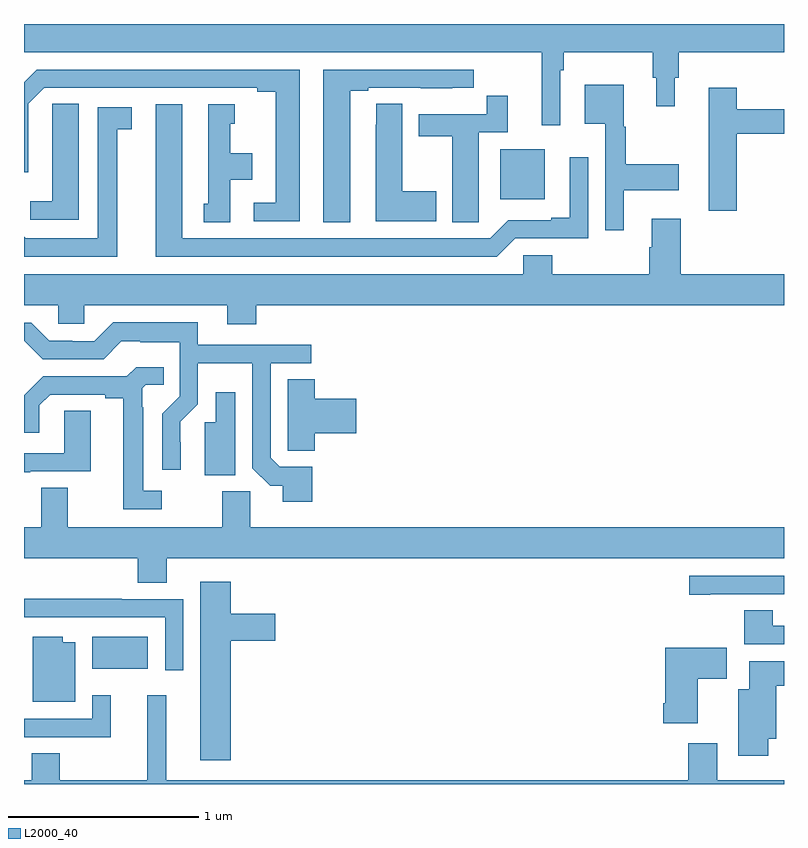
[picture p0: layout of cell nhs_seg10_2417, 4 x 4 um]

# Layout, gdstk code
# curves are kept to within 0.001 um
import gdstk
lib = gdstk.Library(unit=1e-6, precision=1e-09)
def R(c, l, rs):  # rectangles x0, y0, x1, y1
    for r in rs: c.add(gdstk.rectangle(r[:2], r[2:], *l))
def P(c, l, *ps):  # polygons
    for p in ps: c.add(gdstk.Polygon(p, *l))
L2000_40 = (2000, 40)

nhs_seg10_2417 = lib.new_cell('nhs_seg10_2417')
R(nhs_seg10_2417, L2000_40, [(241.358,1261.106,241.651,1261.276), (243.506,1263.578,243.742,1263.841)])
P(nhs_seg10_2417, L2000_40, [(243.822,1264.256),(243.842,1264.256),(243.842,1264.352),(244.309,1264.352),(244.309,1264.218),(244.328,1264.218),(244.328,1264.068),(244.426,1264.068),(244.426,1264.218),(244.445,1264.218),(244.445,1264.352),(245,1264.352),(245,1264.5),(241,1264.5),(241,1264.352),(243.725,1264.352),(243.725,1263.966),(243.822,1263.966)],
  [(242.452,1264.26),(241.067,1264.26),(241,1264.193),(241,1263.72),(241.023,1263.72),(241.023,1264.08),(241.107,1264.164),(242.228,1264.164),(242.228,1264.144),(242.324,1264.144),(242.324,1263.558),(242.208,1263.558),(242.208,1263.462),(242.452,1263.462)],
  [(242.716,1264.149),(242.812,1264.149),(242.812,1264.164),(243.088,1264.164),(243.088,1264.163),(243.254,1264.163),(243.254,1264.164),(243.367,1264.164),(243.367,1264.26),(242.576,1264.26),(242.576,1263.457),(242.716,1263.457)],
  [(244.156,1263.626),(244.447,1263.626),(244.447,1263.761),(244.168,1263.761),(244.168,1263.96),(244.156,1263.96),(244.156,1264.18),(243.95,1264.18),(243.95,1263.974),(244.059,1263.974),(244.059,1263.414),(244.156,1263.414)],
  [(244.751,1263.922),(245,1263.922),(245,1264.051),(244.751,1264.051),(244.751,1264.165),(244.604,1264.165),(244.604,1263.516),(244.751,1263.516)],
  [(243.393,1263.568),(243.394,1263.568),(243.394,1263.93),(243.545,1263.93),(243.545,1264.123),(243.436,1264.123),(243.436,1264.026),(243.077,1264.026),(243.077,1263.91),(243.254,1263.91),(243.254,1263.457),(243.393,1263.457)],
  [(241.288,1264.079),(241.149,1264.079),(241.149,1263.971),(241.148,1263.971),(241.148,1263.568),(241.032,1263.568),(241.032,1263.471),(241.288,1263.471)],
  [(243.169,1263.621),(242.992,1263.621),(242.992,1264.079),(242.853,1264.079),(242.853,1263.971),(242.852,1263.971),(242.852,1263.461),(243.169,1263.461)],
  [(242.086,1263.68),(242.2,1263.68),(242.2,1263.82),(242.086,1263.82),(242.086,1263.975),(242.11,1263.975),(242.11,1264.078),(241.97,1264.078),(241.97,1263.555),(241.946,1263.555),(241.946,1263.457),(242.086,1263.457)],
  [(243.585,1263.372),(243.969,1263.372),(243.969,1263.799),(243.872,1263.799),(243.872,1263.481),(243.776,1263.481),(243.776,1263.468),(243.549,1263.468),(243.453,1263.372),(241.834,1263.372),(241.834,1264.078),(241.694,1264.078),(241.694,1263.276),(243.489,1263.276)],
  [(241.492,1263.946),(241.567,1263.946),(241.567,1264.062),(241.388,1264.062),(241.388,1263.372),(241.008,1263.372),(241,1263.38),(241,1263.276),(241.492,1263.276)],
  [(242.222,1263.02),(245,1263.02),(245,1263.184),(244.457,1263.184),(244.457,1263.475),(244.304,1263.475),(244.304,1263.326),(244.292,1263.326),(244.292,1263.184),(243.779,1263.184),(243.779,1263.282),(243.627,1263.282),(243.627,1263.184),(241,1263.184),(241,1263.02),(241.179,1263.02),(241.179,1262.922),(241.317,1262.922),(241.317,1263.02),(242.069,1263.02),(242.069,1262.921),(242.222,1262.921)],
  [(242.516,1262.169),(242.346,1262.169),(242.298,1262.217),(242.298,1262.715),(242.512,1262.715),(242.512,1262.811),(241.915,1262.811),(241.915,1262.929),(241.471,1262.929),(241.371,1262.829),(241.254,1262.829),(241.254,1262.832),(241.134,1262.832),(241.038,1262.928),(241,1262.928),(241,1262.832),(241.002,1262.832),(241.098,1262.736),(241.419,1262.736),(241.512,1262.829),(241.612,1262.829),(241.612,1262.825),(241.821,1262.825),(241.821,1262.541),(241.728,1262.448),(241.728,1262.154),(241.824,1262.154),(241.823,1262.406),(241.914,1262.498),(241.914,1262.714),(242.202,1262.714),(242.202,1262.163),(242.295,1262.071),(242.363,1262.071),(242.363,1261.986),(242.516,1261.986)],
  [(241.726,1262.043),(241.627,1262.043),(241.627,1262.483),(241.623,1262.483),(241.623,1262.583),(241.641,1262.601),(241.736,1262.601),(241.736,1262.693),(241.59,1262.693),(241.542,1262.646),(241.1,1262.646),(241,1262.546),(241,1262.349),(241.081,1262.349),(241.081,1262.493),(241.138,1262.55),(241.427,1262.55),(241.427,1262.53),(241.523,1262.53),(241.523,1261.947),(241.726,1261.947)],
  [(242.531,1262.345),(242.749,1262.345),(242.749,1262.528),(242.531,1262.528),(242.531,1262.63),(242.387,1262.63),(242.387,1262.362),(242.388,1262.362),(242.388,1262.254),(242.531,1262.254)],
  [(242.113,1262.563),(242.009,1262.563),(242.009,1262.403),(241.952,1262.403),(241.952,1262.125),(242.113,1262.125)],
  [(241.033,1262.145),(241.351,1262.145),(241.351,1262.465),(241.212,1262.465),(241.212,1262.241),(241,1262.241),(241,1262.141),(241.033,1262.141)],
  [(241.75,1261.688),(245,1261.688),(245,1261.852),(242.19,1261.852),(242.19,1262.04),(242.044,1262.04),(242.044,1261.852),(241.231,1261.852),(241.231,1262.06),(241.091,1262.06),(241.091,1261.852),(241,1261.852),(241,1261.688),(241.598,1261.688),(241.598,1261.558),(241.75,1261.558)],
  [(244.612,1261.5),(245,1261.5),(245,1261.596),(244.5,1261.596),(244.5,1261.495),(244.612,1261.495)],
  [(242.087,1261.253),(242.323,1261.253),(242.323,1261.395),(242.087,1261.395),(242.087,1261.564),(241.928,1261.564),(241.928,1260.624),(242.087,1260.624)],
  [(241.839,1261.473),(241.514,1261.473),(241.514,1261.475),(241,1261.475),(241,1261.377),(241.743,1261.377),(241.743,1261.098),(241.839,1261.098)],
  [(245,1261.332),(244.942,1261.332),(244.942,1261.415),(244.79,1261.415),(244.79,1261.236),(245,1261.236)],
  [(241.27,1261.246),(241.204,1261.246),(241.204,1261.276),(241.046,1261.276),(241.046,1260.932),(241.27,1260.932)],
  [(244.546,1261.054),(244.699,1261.054),(244.699,1261.216),(244.376,1261.216),(244.376,1260.925),(244.364,1260.925),(244.364,1260.821),(244.546,1260.821)],
  [(244.918,1260.737),(244.96,1260.737),(244.96,1261.016),(245,1261.016),(245,1261.147),(244.817,1261.147),(244.817,1261),(244.76,1261),(244.76,1260.648),(244.918,1260.648)],
  [(245,1260.52),(244.648,1260.52),(244.648,1260.715),(244.496,1260.715),(244.496,1260.52),(241.748,1260.52),(241.748,1260.967),(241.649,1260.967),(241.649,1260.52),(241.188,1260.52),(241.188,1260.662),(241.04,1260.662),(241.04,1260.52),(241,1260.52),(241,1260.5),(245,1260.5)],
  [(241.457,1260.967),(241.359,1260.967),(241.359,1260.843),(241,1260.843),(241,1260.747),(241.457,1260.747)])

lib.write_gds('nhs_seg10_2417.gds')
